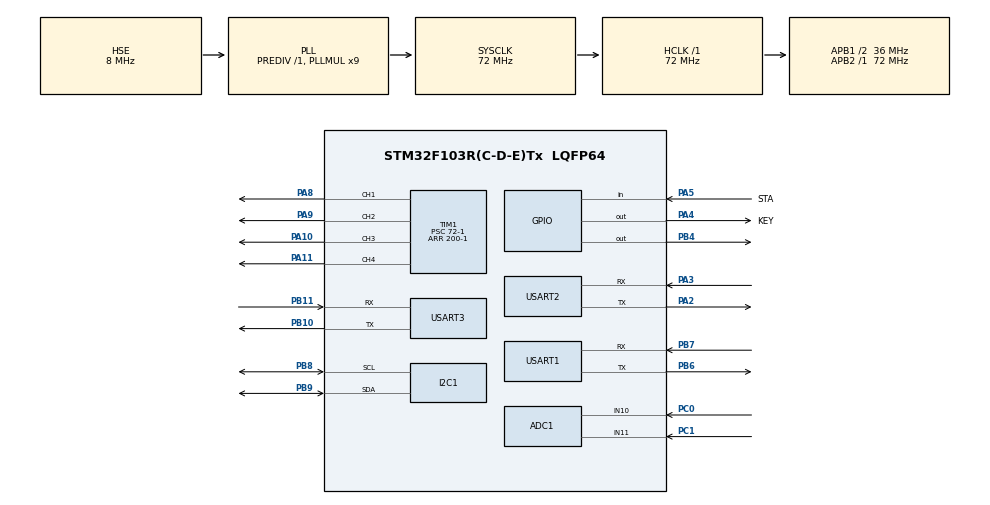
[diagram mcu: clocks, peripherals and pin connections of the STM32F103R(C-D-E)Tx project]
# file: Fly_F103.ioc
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ADC1.Channel-3\#ChannelRegularConversion=ADC_CHANNEL_10
ADC1.Channel-4\#ChannelRegularConversion=ADC_CHANNEL_11
ADC1.ContinuousConvMode=ENABLE
ADC1.DataAlign=ADC_DATAALIGN_RIGHT
ADC1.NbrOfConversion=2
ADC1.NbrOfConversionFlag=1
ADC1.Rank-3\#ChannelRegularConversion=1
ADC1.Rank-4\#ChannelRegularConversion=2
ADC1.SamplingTime-3\#ChannelRegularConversion=ADC_SAMPLETIME_55CYCLES_5
ADC1.SamplingTime-4\#ChannelRegularConversion=ADC_SAMPLETIME_55CYCLES_5
ADC1.master=1
Dma.ADC1.0.Direction=DMA_PERIPH_TO_MEMORY
Dma.ADC1.0.Instance=DMA1_Channel1
Dma.ADC1.0.MemDataAlignment=DMA_MDATAALIGN_HALFWORD
Dma.ADC1.0.MemInc=DMA_MINC_ENABLE
Dma.ADC1.0.Mode=DMA_CIRCULAR
Dma.ADC1.0.PeriphDataAlignment=DMA_PDATAALIGN_HALFWORD
Dma.ADC1.0.PeriphInc=DMA_PINC_DISABLE
Dma.ADC1.0.Priority=DMA_PRIORITY_LOW
Dma.Request0=ADC1
I2C1.I2C_Mode=I2C_Fast
Mcu.Family=STM32F1
Mcu.Name=STM32F103R(C-D-E)Tx
Mcu.Package=LQFP64
NVIC.DMA1_Channel1_IRQn=true\:0\:0\:false\:false\:true\:false\:true\:true
NVIC.PriorityGroup=NVIC_PRIORITYGROUP_4
NVIC.TIM2_IRQn=true\:0\:0\:false\:false\:true\:true\:true\:true
NVIC.USART2_IRQn=true\:0\:0\:false\:false\:true\:true\:true\:true
PA10.Signal=S_TIM1_CH3
PA11.Signal=S_TIM1_CH4
PA13.Mode=Serial_Wire
PA13.Signal=SYS_JTMS-SWDIO
PA14.Mode=Serial_Wire
PA14.Signal=SYS_JTCK-SWCLK
PA2.Mode=Asynchronous
PA2.Signal=USART2_TX
PA3.Mode=Asynchronous
PA3.Signal=USART2_RX
PA4.GPIO_Label=KEY
PA4.GPIO_PuPd=GPIO_NOPULL
PA4.PinState=GPIO_PIN_SET
PA4.Signal=GPIO_Output
PA5.GPIO_Label=STA
PA5.GPIO_PuPd=GPIO_PULLUP
PA5.Signal=GPIO_Input
PA8.Signal=S_TIM1_CH1
PA9.Signal=S_TIM1_CH2
PB10.Mode=Asynchronous
PB10.Signal=USART3_TX
PB11.Mode=Asynchronous
PB11.Signal=USART3_RX
PB4.GPIO_PuPd=GPIO_PULLDOWN
PB4.Signal=GPIO_Output
PB6.Mode=Asynchronous
PB6.Signal=USART1_TX
PB7.Mode=Asynchronous
PB7.Signal=USART1_RX
PB8.Mode=I2C
PB8.Signal=I2C1_SCL
PB9.Mode=I2C
PB9.Signal=I2C1_SDA
PC0.Signal=ADCx_IN10
PC1.Signal=ADCx_IN11
PD0-OSC_IN.Mode=HSE-External-Oscillator
PD0-OSC_IN.Signal=RCC_OSC_IN
PD1-OSC_OUT.Mode=HSE-External-Oscillator
PD1-OSC_OUT.Signal=RCC_OSC_OUT
ProjectManager.HeapSize=0x200
ProjectManager.StackSize=0x400
ProjectManager.TargetToolchain=STM32CubeIDE
RCC.ADCPresc=RCC_ADCPCLK2_DIV6
RCC.AHBFreq_Value=72000000
RCC.APB1CLKDivider=RCC_HCLK_DIV2
RCC.APB1Freq_Value=36000000
RCC.APB1TimFreq_Value=72000000
RCC.APB2Freq_Value=72000000
RCC.APB2TimFreq_Value=72000000
RCC.HCLKFreq_Value=72000000
RCC.PLLMUL=RCC_PLL_MUL9
RCC.PLLSourceVirtual=RCC_PLLSOURCE_HSE
RCC.SYSCLKFreq_VALUE=72000000
RCC.SYSCLKSource=RCC_SYSCLKSOURCE_PLLCLK
RCC.USBFreq_Value=72000000
SH.ADCx_IN10.0=ADC1_IN10,IN10
SH.ADCx_IN11.0=ADC1_IN11,IN11
SH.S_TIM1_CH1.0=TIM1_CH1,PWM Generation1 CH1
SH.S_TIM1_CH2.0=TIM1_CH2,PWM Generation2 CH2
SH.S_TIM1_CH3.0=TIM1_CH3,PWM Generation3 CH3
SH.S_TIM1_CH4.0=TIM1_CH4,PWM Generation4 CH4
TIM1.Channel-PWM\ Generation1\ CH1=TIM_CHANNEL_1
TIM1.Channel-PWM\ Generation2\ CH2=TIM_CHANNEL_2
TIM1.Channel-PWM\ Generation3\ CH3=TIM_CHANNEL_3
TIM1.Channel-PWM\ Generation4\ CH4=TIM_CHANNEL_4
TIM1.Period=200-1
TIM1.Prescaler=72-1
TIM2.Period=65536-1
TIM2.Prescaler=72-1
USART1.VirtualMode=VM_ASYNC
USART2.VirtualMode=VM_ASYNC
USART3.VirtualMode=VM_ASYNC
VP_TIM1_VS_ClockSourceINT.Mode=Internal
VP_TIM2_VS_ClockSourceINT.Mode=Internal
board=custom

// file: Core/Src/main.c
/* USER CODE BEGIN Header */
/**
  ******************************************************************************
  * @file           : main.c
  * @brief          : Main program body
  ******************************************************************************
  * @attention
  *
  * Copyright (c) 2024 STMicroelectronics.
  * All rights reserved.
  *
  * This software is licensed under terms that can be found in the LICENSE file
  * in the root directory of this software component.
  * If no LICENSE file comes with this software, it is provided AS-IS.
  *
  ******************************************************************************
  */
/* USER CODE END Header */
#include "main.h"
#include "adc.h"
#include "dma.h"
#include "i2c.h"
#include "tim.h"
#include "usart.h"
#include "gpio.h"

/* USER CODE BEGIN Includes */
#include "bmp280.h"
#include "mpu6050.h"
#include "retarget.h"
#include "stdio.h"
#include "controller.h"
#include "timer.h"
extern uint8_t aRxBuffer;	//
extern uint8_t throttle;
/* USER CODE END Includes */

/* USER CODE BEGIN PV */
MPU6050_t MPU6050;
/* USER CODE END PV */

void SystemClock_Config(void);

int main(void)
{
  /* USER CODE BEGIN 1 */
    retargetInit(&huart2);
  /* USER CODE END 1 */

  /* MCU Configuration--------------------------------------------------------*/

  /* Reset of all peripherals, Initializes the Flash interface and the Systick. */
  HAL_Init();

  /* Configure the system clock */
  SystemClock_Config();

  /* Initialize all configured peripherals */
  MX_GPIO_Init();
  MX_DMA_Init();
  MX_ADC1_Init();
  MX_I2C1_Init();
  MX_TIM1_Init();
  MX_USART1_UART_Init();
  MX_USART2_UART_Init();
  MX_USART3_UART_Init();
  MX_TIM2_Init();
  /* USER CODE BEGIN 2 */
//    bmp280_init_default_params(&bmp280.params);
//    bmp280.addr = BMP280_I2C_ADDRESS_0;
//    bmp280.i2c = &hi2c1;
//    while (!bmp280_init(&bmp280, &bmp280.params)){
//        HAL_Delay(1000);
//    }
    printf("Begin initializing...\r\n");
    HAL_TIM_PWM_Start(&htim1,TIM_CHANNEL_1);
    HAL_TIM_PWM_Start(&htim1,TIM_CHANNEL_2);
    HAL_TIM_PWM_Start(&htim1,TIM_CHANNEL_3);
    HAL_TIM_PWM_Start(&htim1,TIM_CHANNEL_4);
    int val=0;
    __HAL_TIM_SetCompare(&htim1, TIM_CHANNEL_1, val);
    __HAL_TIM_SetCompare(&htim1, TIM_CHANNEL_2, val);
    __HAL_TIM_SetCompare(&htim1, TIM_CHANNEL_3, val);
    __HAL_TIM_SetCompare(&htim1, TIM_CHANNEL_4, val);
    // ADC
    u_int16_t AdcBuf[2] = {0};
    HAL_ADCEx_Calibration_Start(&hadc1);
    HAL_ADC_Start_DMA(&hadc1, (uint32_t *)AdcBuf, 2);

    // USART2 command receiver
    HAL_UART_Receive_IT(&huart2, (uint8_t *)&aRxBuffer, 1);

    // timer
    timer_Init();

  /* USER CODE END 2 */

  /* Infinite loop */
  /* USER CODE BEGIN WHILE */
    while (MPU6050_Init(&hi2c1) == 1) {
        printf("MPU6050_Init failed\r\n");
        HAL_Delay(500);
    }
    double time0 = Get_SystemSecond();
    MPU6050_adjust(&hi2c1, &MPU6050);
    double time1 = Get_SystemSecond();
    printf("MPU6050_Adjust time: %f\r\n", time1-time0);
    printf("MPU6050_Init success\r\n");

  while (1) {
      /* USER CODE END WHILE */
    user_control();
  }
}

void SystemClock_Config(void)
{
  RCC_OscInitTypeDef RCC_OscInitStruct = {0};
  RCC_ClkInitTypeDef RCC_ClkInitStruct = {0};
  RCC_PeriphCLKInitTypeDef PeriphClkInit = {0};

  /** Initializes the RCC Oscillators according to the specified parameters
  * in the RCC_OscInitTypeDef structure.
  */
  RCC_OscInitStruct.OscillatorType = RCC_OSCILLATORTYPE_HSE;
  RCC_OscInitStruct.HSEState = RCC_HSE_ON;
  RCC_OscInitStruct.HSEPredivValue = RCC_HSE_PREDIV_DIV1;
  RCC_OscInitStruct.HSIState = RCC_HSI_ON;
  RCC_OscInitStruct.PLL.PLLState = RCC_PLL_ON;
  RCC_OscInitStruct.PLL.PLLSource = RCC_PLLSOURCE_HSE;
  RCC_OscInitStruct.PLL.PLLMUL = RCC_PLL_MUL9;
  if (HAL_RCC_OscConfig(&RCC_OscInitStruct) != HAL_OK)
  {
    Error_Handler();
  }

  /** Initializes the CPU, AHB and APB buses clocks
  */
  RCC_ClkInitStruct.ClockType = RCC_CLOCKTYPE_HCLK|RCC_CLOCKTYPE_SYSCLK
                              |RCC_CLOCKTYPE_PCLK1|RCC_CLOCKTYPE_PCLK2;
  RCC_ClkInitStruct.SYSCLKSource = RCC_SYSCLKSOURCE_PLLCLK;
  RCC_ClkInitStruct.AHBCLKDivider = RCC_SYSCLK_DIV1;
  RCC_ClkInitStruct.APB1CLKDivider = RCC_HCLK_DIV2;
  RCC_ClkInitStruct.APB2CLKDivider = RCC_HCLK_DIV1;

  if (HAL_RCC_ClockConfig(&RCC_ClkInitStruct, FLASH_LATENCY_2) != HAL_OK)
  {
    Error_Handler();
  }
  PeriphClkInit.PeriphClockSelection = RCC_PERIPHCLK_ADC;
  PeriphClkInit.AdcClockSelection = RCC_ADCPCLK2_DIV6;
  if (HAL_RCCEx_PeriphCLKConfig(&PeriphClkInit) != HAL_OK)
  {
    Error_Handler();
  }
}

void Error_Handler(void)
{
  __disable_irq();
  while (1)
  {
  }
}
